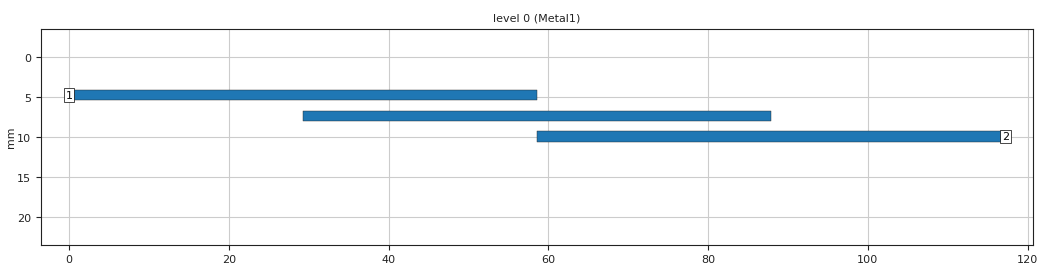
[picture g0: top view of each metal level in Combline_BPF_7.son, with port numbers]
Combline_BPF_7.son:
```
FTYP SONPROJ 19 ! Sonnet Project File
VER 18.53
HEADER
LIC SL63d5c05c
DAT 06/22/2023 15:56:11
BUILT_BY_CREATED xgeom 18.53-Lite 06/12/2023 16:43:25
BUILT_BY_SAVED sonnet 18.53-Lite
MDATE 06/21/2023 11:11:17
HDATE 06/21/2023 11:11:17
END HEADER
DIM
ANG DEG
CAP PF
CON /OH
FREQ GHZ
IND NH
LNG MM
RES OH
END DIM
CONTROL
VARSWP
OPTIONS  -d
SPEED 0
CACHE_ABS 2
Q_ACC N
END CONTROL
GEO
TMET "Lossless" 0 SUP 0 0 0 0
BMET "Lossless" 0 SUP 0 0 0 0
MET "Copper" 1 NOR 58000000 0.5 0.066 
BOX 1 117.2 20 2344 400 20 0
      10 1 1 0 0 0 0 "Air"
      1.57 4.4 1 0.02 0 0 0 "FR-4"
TECHLAY METAL Metal1 <UNSPECIFIED> -2 -65534 
0 0 0 N 592 1 1 100 100 0 0 0 Y
END
END
DIM STD XDIR 1
POS 24.25280126 1.073855318
NOM 29.3
REF1 POLY 582 1
3
REF2 POLY 581 1
0
END
DIM STD XDIR 1
POS 21.45960723 2.852344742
NOM 29.3
REF1 POLY 581 1
3
REF2 POLY 551 1
0
END
DIM STD XDIR 1
POS 29.61625544 -2.030920358
NOM 29.3
REF1 POLY 581 1
2
REF2 POLY 551 1
1
END
DIM STD YDIR -1
POS 10.0911128 -0.20870642
NOM 1.3
REF1 POLY 581 1
1
REF2 POLY 582 1
2
END
LORGN 0 20 U 
POR1 BOX
POLY 551 1
1
2 50 0 0 0 117.2 9.95 
POR1 BOX
POLY 582 1
3
1 50 0 0 0 4.884981308e-15 4.75 
NUM 3
0 5 0 N 551 1 1 100 100 0 0 0 Y
TLAYNAM Metal1 INH
58.6 9.3
117.2 9.3
117.2 10.6
58.6 10.6
58.6 9.3
END
0 5 0 N 581 1 1 100 100 0 0 0 Y
TLAYNAM Metal1 INH
29.3 6.7
87.9 6.7
87.9 8
29.3 8
29.3 6.7
END
0 5 0 N 582 1 1 100 100 0 0 0 Y
TLAYNAM Metal1 INH
4.884981308e-15 4.1
58.6 4.1
58.6 5.4
4.884981308e-15 5.4
4.884981308e-15 4.1
END
END GEO
OPT
MAX 100
END OPT
VARSWP
ENABLED Y
FREQ Y AN SWEEP 1.0 2.0 0.01
END
END VARSWP
```
